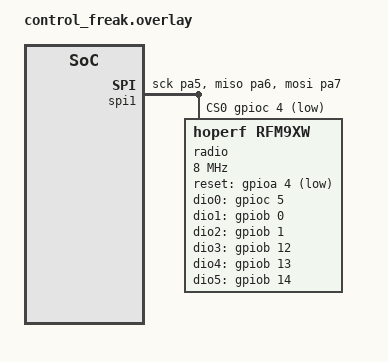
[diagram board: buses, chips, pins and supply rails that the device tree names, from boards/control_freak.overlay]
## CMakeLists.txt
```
cmake_minimum_required(VERSION 3.20.0)

find_package(Zephyr REQUIRED HINTS $ENV{ZEPHYR_BASE})

include(${ZEPHYR_FSW_MODULE_DIR}/cmake/Autocoders.cmake)


project(payload_flight_software LANGUAGES CXX)

target_compile_options(app PRIVATE -Wall -Wno-unused-parameter -Wno-unused-function -Wno-ignored-qualifiers)
FILE(GLOB app_sources src/*.cpp src/*.c)
target_sources(app PRIVATE ${app_sources})
```

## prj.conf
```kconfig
#CONFIG_F_CORE=y
#CONFIG_F_CORE_OS=y

CONFIG_MAIN_STACK_SIZE=8192


# CONFIG_NO_OPTIMIZATIONS=y
#CONFIG_SIZE_OPTIMIZATIONS=y
CONFIG_SPEED_OPTIMIZATIONS=y
CONFIG_REBOOT=y

CONFIG_LOG=y
CONFIG_APP_FREAK_LOG_LEVEL_INF=y
CONFIG_CBPRINTF_FP_SUPPORT=y
CONFIG_LOG_PRINTK=y
CONFIG_SHELL_LOG_BACKEND=y

CONFIG_POLL=y
CONFIG_BASE64=y
CONFIG_SERIAL=y
CONFIG_SPI=y
CONFIG_SPI_ASYNC=y
CONFIG_I2C=y


CONFIG_EVENTS=y

#CONFIG_UART_ASYNC_API=y
CONFIG_UART_CONSOLE=y
# CONFIG_SHELL_BACKEND_UART=y
# 
# CONFIG_UART_CONSOLE=n
# CONFIG_RTT_CONSOLE=y
# CONFIG_USE_SEGGER_RTT=y
# CONFIG_SHELL_BACKEND_RTT=y
# CONFIG_UART_INTERRUPT_DRIVEN=y

CONFIG_SHELL=y

CONFIG_GPIO_SHELL=y
CONFIG_I2C_SHELL=y
CONFIG_SENSOR_SHELL=y
CONFIG_FLASH_SHELL=y
CONFIG_FILE_SYSTEM_SHELL=y
CONFIG_HEAP_MEM_POOL_SIZE=8192

# Flash chip is SPI
CONFIG_FLASH=y
CONFIG_FLASH_MAP=y
CONFIG_FLASH_PAGE_LAYOUT=y

# Use filesystem
CONFIG_FILE_SYSTEM=y
# Use LittleFS as the filesystem
CONFIG_FILE_SYSTEM_LITTLEFS=y
# LittleFS is mounted on a flash map device
CONFIG_FS_LITTLEFS_FMP_DEV=y 




CONFIG_SENSOR=y
CONFIG_SENSOR_INFO=y

CONFIG_PWM=y


#CONFIG_LORA_LOG_LEVEL_DBG=y
#CONFIG_HORUSV2=y
#CONFIG_HORUS_LOG_LEVEL_WRN=y

CONFIG_GNSS=y
CONFIG_GNSS_SATELLITES=n
CONFIG_GNSS_LOG_LEVEL_INF=y

#CONFIG_GNSS_DUMP_TO_LOG=y
#CONFIG_GNSS_DUMP_TO_LOG_BUF_SIZE=1024

CONFIG_SYSTEM_WORKQUEUE_STACK_SIZE=8096
#CONFIG_FLASH_SHELL_BUFFER_SIZE=1024

CONFIG_SHELL_STACK_SIZE=4096
CONFIG_STORAGE_THREAD_STACK_SIZE=1536
CONFIG_LOG_BUFFER_SIZE=8192
```

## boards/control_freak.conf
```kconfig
CONFIG_SPI_NOR_SLEEP_WHILE_WAITING_UNTIL_READY=y
# sector erase time typical is 45ms
CONFIG_SPI_NOR_SLEEP_ERASE_MS=20

CONFIG_CORTEX_M_SYSTICK_64BIT_CYCLE_COUNTER=y
CONFIG_DMA=y
CONFIG_SPI_STM32_DMA=y

CONFIG_I2C_STM32_BUS_RECOVERY=y
# Actual Devices
CONFIG_GNSS=y
CONFIG_U_BLOX_M10=y

CONFIG_RFM9XW=y

CONFIG_SENSOR=y
CONFIG_LSM6DSL=y
CONFIG_BMP388=y
CONFIG_INA260=y
```

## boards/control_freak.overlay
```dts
/ {
    aliases {
        lora0 = &radio;
    };
};

&lora {
    status = "disabled";
};

&spi1 {
	pinctrl-0 = <&spi1_sck_pa5 &spi1_miso_pa6 &spi1_mosi_pa7>;
	cs-gpios = <&gpioc 4 GPIO_ACTIVE_LOW>;
	pinctrl-names = "default";
	status = "okay";

	radio: rfm98w@0 {
		#io-channel-cells= <1>;
		status = "okay";
		compatible = "hoperf,rfm9xw";
		reg = <0>;
		spi-max-frequency = <DT_FREQ_M(8)>; // pg. 20, Table 10 MAX 10MHz
		
		reset-gpios = <&gpioa 4 GPIO_ACTIVE_LOW>;
		power-amplifier = "RfmPowerAmplifierSelection_PaBoost";


		dio0-gpios = <&gpioc 5  GPIO_ACTIVE_HIGH>;
		dio1-gpios = <&gpiob 0  GPIO_ACTIVE_HIGH>;
		dio2-gpios = <&gpiob 1  GPIO_ACTIVE_HIGH>;
		dio3-gpios = <&gpiob 12 GPIO_ACTIVE_HIGH>;
		dio4-gpios = <&gpiob 13 GPIO_ACTIVE_HIGH>;
		dio5-gpios = <&gpiob 14 GPIO_ACTIVE_HIGH>;

//		dio-gpios =   <&gpioc 5  GPIO_ACTIVE_HIGH>,
//					  <&gpiob 0  GPIO_ACTIVE_HIGH>,
//					  <&gpiob 1  GPIO_ACTIVE_HIGH>,
//					  <&gpiob 12 GPIO_ACTIVE_HIGH>,
//					  <&gpiob 13 GPIO_ACTIVE_HIGH>,
//					  <&gpiob 14 GPIO_ACTIVE_HIGH>;

		// dio2-gpios = <&arduino_header 3 GPIO_ACTIVE_HIGH>;

	};

};
```

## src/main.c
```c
#include "../drivers/modem/rfm9Xw/rfm9Xw.h"
#include "f_core/radio/protocols/horus/horus.h"

#include <errno.h>
#include <math.h>
#include <stdio.h>
#include <stdlib.h>
#include <zephyr/drivers/gnss.h>
#include <zephyr/drivers/gpio.h>
#include <zephyr/drivers/lora.h>
#include <zephyr/drivers/pwm.h>
#include <zephyr/drivers/sensor.h>
#include <zephyr/drivers/spi.h>
#include <zephyr/fs/fs.h>
#include <zephyr/kernel.h>
#include <zephyr/logging/log.h>
#include <zephyr/shell/shell.h>
#include <zephyr/types.h>
LOG_MODULE_REGISTER(main);

#define RADIO_NODE DT_ALIAS(lora0)
static const struct device *radio = DEVICE_DT_GET(RADIO_NODE);

const uint32_t carrier = 432950000;

uint8_t tx_buf[1500];
uint8_t rx_buf[1600];

int main() {
    for (size_t i = 0; i < 256; i++) {
        tx_buf[i] = 0xe0;
    }
    for (size_t i = 0; i < 256; i++) {
        tx_buf[256 + i] = 0xaa;
    }
    for (size_t i = 0; i < 256; i++) {
        tx_buf[512 + i] = i;
    }

    for (size_t i = 512 + 256; i < sizeof(tx_buf); i++) {
        tx_buf[i] = 0xff;
    }

    tx_buf[0] = 'k';
    tx_buf[1] = 'c';
    tx_buf[2] = '1';
    tx_buf[3] = 't';
    tx_buf[4] = 'p';
    tx_buf[5] = 'r';
    struct rfm9Xw_modem_config cfg = {
        .modem_mode = RfmModemMode_FSK,
        .fsk =
            {
                .data_mode = RfmPacketConfigDataMode_Packet,
                .bitrate = 1200,
                .carrier_freq = 434000000,
                .deviation_freq = 1000,
                .modulation_shaping = RfmModulationShaping_FSK_NoShaping,
                .pa_ramp = RfmPaRamp_15us,
                .tx_power = 12,
                .sync_word = 0b1010101010101010,
                .sync_word_len = 2,
            },
    };
    int ret = rfm9Xw_configure_modem(radio, &cfg);

    if (ret < 0) {
        LOG_ERR("Couldn't configure modem: %d", ret);
    } else {
        LOG_INF("Successfully configured modem");
    }
    // rfm9Xw_test_cw(radio, 434000000, 20, K_SECONDS(2));
    LOG_INF("recv real data");
    while (true) {
        ret = rfm9xw_receive(radio, rx_buf, sizeof(rx_buf), K_SECONDS(5));
        if (ret != 0) {
            LOG_WRN("Ret: %d", ret);
        }
    }
    // while (true) {
    // ret = rfm9xw_transmit(radio, tx_buf, sizeof(tx_buf));
    // k_msleep(1000);
    // }

    if (ret != 0) {
        LOG_ERR("Couldnt tx: %d", ret);
    }
    while (true) {
        int8_t c = 0;
        int ret = rfm9xw_read_temperature(radio, &c);
        if (ret != 0) {
            LOG_WRN_ONCE("Failed to read temp: %d", ret);
        } else {
            LOG_INF("Temp: %d", (int) c);
        }
        k_msleep(1000);
    }
}
```
